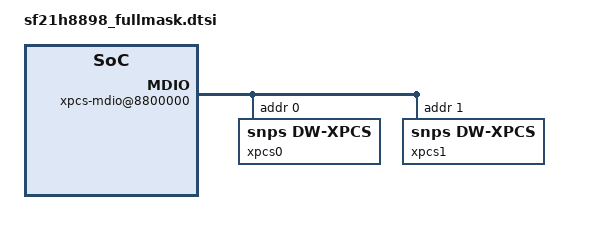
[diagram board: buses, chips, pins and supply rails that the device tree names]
// SPDX-License-Identifier: GPL-2.0
#include <dt-bindings/gpio/gpio.h>
#include <dt-bindings/pinctrl/sf21h8898-fullmask-iomux.h>

/ {
	compatible = "siflower,sf21h8898";
	#address-cells = <1>;
	#size-cells = <1>;

	cpus {
		#address-cells = <1>;
		#size-cells = <0>;
		timebase-frequency = <60000000>;

		cpu@0 {
			compatible = "thead,c908", "riscv";
			device_type = "cpu";
			riscv,isa = "rv64imafdc";
			riscv,isa-base = "rv64i";
			riscv,isa-extensions = "i", "m", "a", "f", "d", "c",
						"sstc", "svnapot", "svpbmt", "zba", "zbb", "zbc", "zbs", "zicbom", "zicbop", "zicboz", "zicntr", "zicsr", "zifencei", "zihintpause", "zihpm";
			reg = <0>;
			i-cache-block-size = <64>;
			i-cache-size = <32768>;
			i-cache-sets = <128>;
			d-cache-block-size = <64>;
			d-cache-size = <32768>;
			d-cache-sets = <128>;
			next-level-cache = <&L2>;
			mmu-type = "riscv,sv39";
			operating-points-v2 = <&opp>;

			cpu0_intc: interrupt-controller {
				#interrupt-cells = <1>;
				compatible = "riscv,cpu-intc";
				interrupt-controller;
			};
		};

		cpu@1 {
			compatible = "thead,c908", "riscv";
			device_type = "cpu";
			riscv,isa = "rv64imafdc";
			riscv,isa-base = "rv64i";
			riscv,isa-extensions = "i", "m", "a", "f", "d", "c",
						"sstc", "svnapot", "svpbmt", "zba", "zbb", "zbc", "zbs", "zicbom", "zicbop", "zicboz", "zicntr", "zicsr", "zifencei", "zihintpause", "zihpm";
			reg = <1>;
			i-cache-block-size = <64>;
			i-cache-size = <32768>;
			i-cache-sets = <128>;
			d-cache-block-size = <64>;
			d-cache-size = <32768>;
			d-cache-sets = <128>;
			next-level-cache = <&L2>;
			mmu-type = "riscv,sv39";
			operating-points-v2 = <&opp>;

			cpu1_intc: interrupt-controller {
				#interrupt-cells = <1>;
				compatible = "riscv,cpu-intc";
				interrupt-controller;
			};
		};

		cpu@2 {
			compatible = "thead,c908", "riscv";
			device_type = "cpu";
			riscv,isa = "rv64imafdc";
			riscv,isa-base = "rv64i";
			riscv,isa-extensions = "i", "m", "a", "f", "d", "c",
						"sstc", "svnapot", "svpbmt", "zba", "zbb", "zbc", "zbs", "zicbom", "zicbop", "zicboz", "zicntr", "zicsr", "zifencei", "zihintpause", "zihpm";
			reg = <2>;
			i-cache-block-size = <64>;
			i-cache-size = <32768>;
			i-cache-sets = <128>;
			d-cache-block-size = <64>;
			d-cache-size = <32768>;
			d-cache-sets = <128>;
			next-level-cache = <&L2>;
			mmu-type = "riscv,sv39";
			operating-points-v2 = <&opp>;

			cpu2_intc: interrupt-controller {
				#interrupt-cells = <1>;
				compatible = "riscv,cpu-intc";
				interrupt-controller;
			};
		};

		cpu@3 {
			compatible = "thead,c908", "riscv";
			device_type = "cpu";
			riscv,isa = "rv64imafdc";
			riscv,isa-base = "rv64i";
			riscv,isa-extensions = "i", "m", "a", "f", "d", "c",
						"sstc", "svnapot", "svpbmt", "zba", "zbb", "zbc", "zbs", "zicbom", "zicbop", "zicboz", "zicntr", "zicsr", "zifencei", "zihintpause", "zihpm";
			reg = <3>;
			i-cache-block-size = <64>;
			i-cache-size = <32768>;
			i-cache-sets = <128>;
			d-cache-block-size = <64>;
			d-cache-size = <32768>;
			d-cache-sets = <128>;
			next-level-cache = <&L2>;
			mmu-type = "riscv,sv39";
			operating-points-v2 = <&opp>;

			cpu3_intc: interrupt-controller {
				#interrupt-cells = <1>;
				compatible = "riscv,cpu-intc";
				interrupt-controller;
			};
		};

		opp: opp_table {
			compatible = "operating-points-v2";
			opp-shared;

			opp-1200000000 {
				opp-hz = /bits/ 64 <1200000000>;
				clock-latency-ns = <1000>;
			};

			opp-800000000 {
				opp-hz = /bits/ 64 <800000000>;
				clock-latency-ns = <1000>;
			};

			opp-600000000 {
				opp-hz = /bits/ 64 <600000000>;
				clock-latency-ns = <1000>;
			};

			opp-400000000 {
				opp-hz = /bits/ 64 <400000000>;
				clock-latency-ns = <1000>;
			};

			opp-300000000 {
				opp-hz = /bits/ 64 <300000000>;
				clock-latency-ns = <1000>;
			};

			opp-200000000 {
				opp-hz = /bits/ 64 <200000000>;
				clock-latency-ns = <1000>;
			};

			opp-100000000 {
				opp-hz = /bits/ 64 <100000000>;
				clock-latency-ns = <1000>;
			};
		};

		L2: l2-cache {
			compatible = "cache";
			cache-level = <2>;
			cache-block-size = <64>;
			cache-size = <262144>;
			cache-sets = <256>;
			cache-unified;
		};
	};

	cpuapb {
		#address-cells = <2>;
		#size-cells = <2>;
		compatible = "simple-bus";
//		ranges;

		plic: interrupt-controller@108000000 {
			compatible = "thead,c900-plic", "riscv,plic0";
			reg = <0x1 0x8000000 0x0 0x4000000>;
			riscv,ndev = <256>;
		};

		clint: timer@10c000000 {
			compatible = "thead,c900-clint", "riscv,clint0";
			reg = <0x1 0xc000000 0x0 0x10000>;
		};
	};

	spi_clk: spi-clk {
		compatible = "fixed-clock";
		#clock-cells = <0>;
		clock-frequency = <200000000>;
	};

	apb_clk: apb-clk {
		compatible = "fixed-clock";
		#clock-cells = <0>;
		clock-frequency = <187500000>;
	};


	timer: timer {
		compatible = "riscv,timer";
	};

	soc {
		compatible = "simple-bus";
		#address-cells = <2>;
		#size-cells = <2>;
		u-boot,dm-pre-reloc;

		gmac0: ethernet@8000000 {
			compatible = "siflower,sf21h8898-xgmac";
			reg = <0x0 0x8000000 0x0 0x4000>;
			phy-mode = "qsgmii";
			pcs-handle = <&xpcs0>;
			pinctrl-names = "default";
			pinctrl-0 = <&mac0_mdio_pins>;
			dmas = <&edma 0>, <&edma 1>;
			status = "disabled";

			mdio0: mdio {
				#address-cells = <1>;
				#size-cells = <0>;
			};
		};

		gmac1: ethernet@8004000 {
			compatible = "siflower,sf21h8898-xgmac";
			reg = <0x0 0x8004000 0x0 0x4000>;
			phy-mode = "qsgmii";
			pcs-handle = <&xpcs0>;
			dmas = <&edma 0>, <&edma 1>;
			status = "disabled";
		};

		gmac2: ethernet@8008000 {
			compatible = "siflower,sf21h8898-xgmac";
			reg = <0x0 0x8008000 0x0 0x4000>;
			phy-mode = "qsgmii";
			pcs-handle = <&xpcs0>;
			dmas = <&edma 0>, <&edma 1>;
			status = "disabled";
		};

		gmac3: ethernet@800c000 {
			compatible = "siflower,sf21h8898-xgmac";
			reg = <0x0 0x800c000 0x0 0x4000>;
			phy-mode = "qsgmii";
			pcs-handle = <&xpcs0>;
			dmas = <&edma 0>, <&edma 1>;
			status = "disabled";
		};

		gmac4: ethernet@8010000 {
			compatible = "siflower,sf21h8898-xgmac";
			reg = <0x0 0x8010000 0x0 0x4000>;
			phy-mode = "2500base-x";
			pcs-handle = <&xpcs1>;
			pinctrl-names = "default";
			pinctrl-0 = <&mac4_mdio_pins>;
			dmas = <&edma 0>, <&edma 1>;
			status = "disabled";

			mdio1: mdio {
				#address-cells = <1>;
				#size-cells = <0>;
			};
		};

		gmac5: ethernet@8014000 {
			compatible = "siflower,sf21h8898-xgmac";
			reg = <0x0 0x8014000 0x0 0x4000>;
			phy-mode = "rgmii";
			pinctrl-names = "default";
			pinctrl-0 = <&rgmii_pins>;
			dmas = <&edma 0>, <&edma 1>;
			status = "disabled";
		};

		edma: dma-controller@8018000 {
			compatible = "siflower,sf21h8898-xgmac-dma";
			reg = <0x0 0x8018000 0x0 0x4000>;
			#dma-cells = <1>;
			dma-channels = <2>;
		};

		xpcs-mdio@8800000 {
			compatible = "siflower,sf21h8898-xpcs-mdio";
			reg = <0x0 0x8800000 0x0 0x1000000>;
			#address-cells = <1>;
			#size-cells = <0>;

			xpcs0: xpcs@0 {
				compatible = "snps,dw-xpcs";
				reg = <0x0>;
				// mode: 1 for qsgmii, 2 for sgmii, 3 for usxgmii
				mode = <0x1>;
			};

			xpcs1: xpcs@1 {
				compatible = "snps,dw-xpcs";
				reg = <0x1>;
				// mode: 1 for qsgmii, 2 for sgmii, 3 for usxgmii
				mode = <0x2>;
			};
		};


		spi0: spi@c200000 {
			compatible = "siflower,sf-exspi";
			reg = <0x0 0xc200000 0x0 0x1000>;
			clocks = <&spi_clk>;
			pinctrl-names = "default";
			pinctrl-0 = <&spi0_pins>;
			status = "disabled";
			#address-cells = <1>;
			#size-cells = <0>;
		};

		rst: reset-controller@0xce08400 {
			compatible = "siflower_i2c_reset";
			#reset-cells = <1>;
			reg = <0x0 0xce08400 0x0 0x1000>;
		};

		i2c0: i2c@c100000 {
			compatible = "snps,designware-i2c";
			reg = <0x0 0xc100000 0x0 0x1000>;
			clocks = <&apb_clk>;
			clock-frequency = <400000>;
			pinctrl-0 = <&i2c0_pins>;
			pinctrl-names = "default";
			status = "disabled";
			resets = <&rst 0>;
			#address-cells = <1>;
			#size-cells = <0>;
		};

		uart0: serial@c300000 {
			compatible = "arm,pl011";
			reg = <0x0 0xc300000 0x0 0x1000>;
			pinctrl-names = "default";
			pinctrl-0 = <&uart0_pins>;
			status = "disabled";
		};

		uart1: serial@c301000 {
			compatible = "arm,pl011";
			reg = <0x0 0xc301000 0x0 0x1000>;
			pinctrl-names = "default";
			pinctrl-0 = <&uart1_pins>;
			status = "disabled";
		};

		watchdog: watchdog@0c700000 {
			compatible = "snps,dw-wdt";
			reg = <0x0 0x0c700000 0x0 0x1000>;
			clocks = <&apb_clk>;
			status = "disabled";
		};

		timer0: timer0@0c600000 {
			compatible = "snps,dw-apb-timer";
			reg = <0x0 0x0c600000 0x0 0x1000>;
			clocks = <&apb_clk>;
			clock-names = "timer";
			status = "disabled";
		};

		timer1: timer1@0c601000 {
			compatible = "snps,dw-apb-timer";
			reg = <0x0 0x0c601000 0x0 0x1000>;
			clocks = <&apb_clk>;
			clock-names = "timer";
			status = "disabled";
		};

		gpio: gpio@c800000 {
			compatible = "siflower,sfax8-gpio";
			reg = <0x0 0xc800000 0x0 0x100000>;

			gpio-controller;
			#gpio-cells = <2>;

			ngpios = <41>;
			gpio-ranges = <&iomux 0 0 41>;
		};

		iomux: iomux@ce3c000 {
			compatible = "pinctrl-single";
			reg = <0x0 0xce3c000 0x0 0xa4>;
			#address-cells = <1>;
			#size-cells = <1>;
			#pinctrl-cells = <1>;

			pinctrl-single,register-width = <32>;
			pinctrl-single,function-mask = <FUNC_MODE_MASK>;
			pinctrl-single,gpio-range = <&range 0 41 GPIO_MODE>;

			range: gpio-range {
				#pinctrl-single,gpio-range-cells = <3>;
			};

			clk_pins: clk_pins {
				pinctrl-single,pins = <
					EXT_CLK_IN	FUNC_MODE0
					CLK_OUT		FUNC_MODE0
				>;
			};

			spi0_pins: spi0_pins {
				pinctrl-single,pins = <
					SPI0_TXD	FUNC_MODE0
					SPI0_RXD	FUNC_MODE0
					SPI0_CLK	FUNC_MODE0
					SPI0_CSN	FUNC_MODE0
					SPI0_HOLD	FUNC_MODE0
					SPI0_WP		FUNC_MODE0
				>;
			};

			jtag_pins: jtag_pins {
				pinctrl-single,pins = <
					JTAG_TDO	FUNC_MODE0
					JTAG_TDI	FUNC_MODE0
					JTAG_TMS	FUNC_MODE0
					JTAG_TCK	FUNC_MODE0
					JTAG_RST	FUNC_MODE0
				>;
			};

			uart0_pins: uart0_pins {
				pinctrl-single,pins = <
					JTAG_TDO	FUNC_MODE1
					JTAG_TDI	FUNC_MODE1
					JTAG_TMS	FUNC_MODE1
					JTAG_TCK	FUNC_MODE1
				>;
			};

			uart1_pins: uart1_pins {
				pinctrl-single,pins = <
					UART1_TX	FUNC_MODE0
					UART1_RX	FUNC_MODE0
				>;
			};

			uart1_full_pins: uart1_full_pins {
				pinctrl-single,pins = <
					UART1_TX	FUNC_MODE0
					UART1_RX	FUNC_MODE0
					I2C0_DAT	FUNC_MODE1
					I2C0_CLK	FUNC_MODE1
				>;
			};

			i2c0_pins: i2c0_pins {
				pinctrl-single,pins = <
					I2C0_DAT	FUNC_MODE0
					I2C0_CLK	FUNC_MODE0
				>;
			};

			perst_pins: perst_pins {
				pinctrl-single,pins = <
					I2C0_DAT	FUNC_MODE2
					I2C0_CLK	FUNC_MODE2
				>;
			};

			i2c1_pins: i2c1_pins {
				pinctrl-single,pins = <
					I2C1_DAT	FUNC_MODE0
					I2C1_CLK	FUNC_MODE0
				>;
			};

			pwm_pins: pwm_pins {
				pinctrl-single,pins = <
					PWM0		FUNC_MODE0
					PWM1		FUNC_MODE0
				>;
			};

			rgmii_pins: rgmii_pins {
				pinctrl-single,pins = <
					RGMII_GTX_CLK	FUNC_MODE0
				//	RGMII_TXCLK	FUNC_MODE0
					RGMII_TXD0	FUNC_MODE0
					RGMII_TXD1	FUNC_MODE0
					RGMII_TXD2	FUNC_MODE0
					RGMII_TXD3	FUNC_MODE0
					RGMII_TXCTL	FUNC_MODE0
					RGMII_RXCLK	FUNC_MODE0
					RGMII_RXD0	FUNC_MODE0
					RGMII_RXD1	FUNC_MODE0
					RGMII_RXD2	FUNC_MODE0
					RGMII_RXD3	FUNC_MODE0
					RGMII_RXCTL	FUNC_MODE0
				>;
			};

			spi1_pins: spi1_pins {
				pinctrl-single,pins = <
					RGMII_GTX_CLK	FUNC_MODE1
					RGMII_TXCLK	FUNC_MODE1
					RGMII_TXD0	FUNC_MODE1
				/*	RGMII_TXD1	FUNC_MODE1	*/
					RGMII_TXD2	FUNC_MODE1
					RGMII_TXD3	FUNC_MODE1
				>;
			};

			mac0_mdio_pins: mac0_mdio_pins {
				pinctrl-single,pins = <
					QSGMII_MDIO	FUNC_MODE0
					QSGMII_MDC	FUNC_MODE0
				>;
			};

			mac4_mdio_pins: mac4_mdio_pins {
				pinctrl-single,pins = <
					SXGMII_MDIO	FUNC_MODE0
					SXGMII_MDC	FUNC_MODE0
				>;
			};
		};
	};
};
